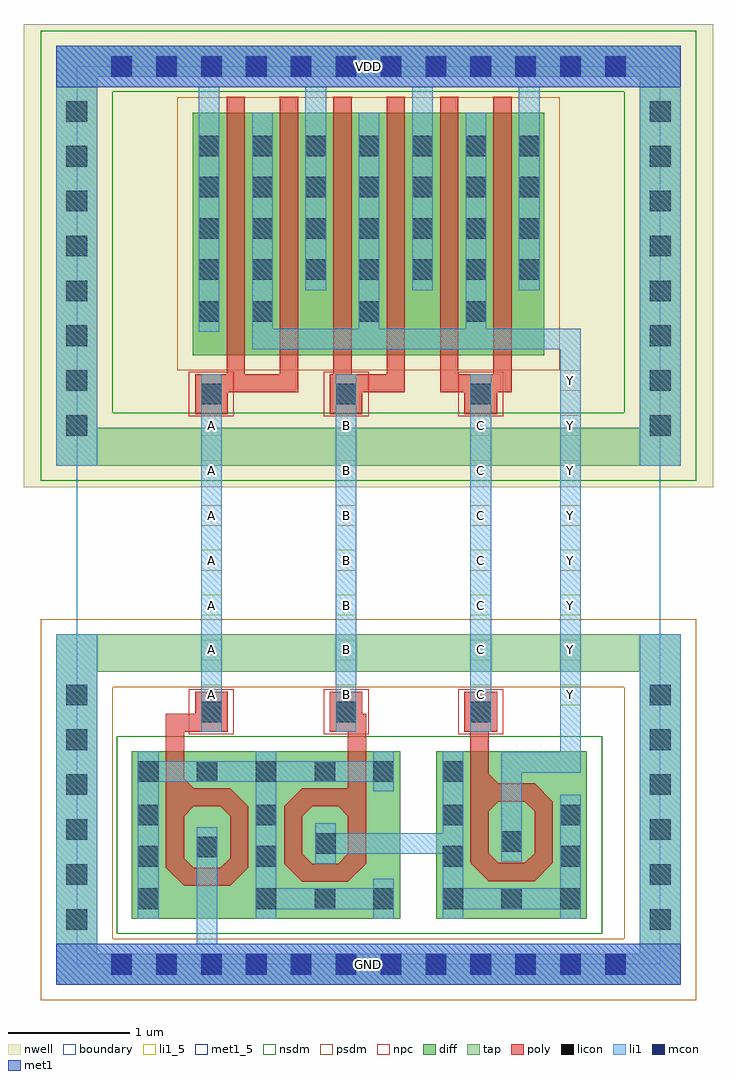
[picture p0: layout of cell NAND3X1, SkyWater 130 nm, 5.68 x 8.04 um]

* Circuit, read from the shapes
.subckt NAND3X1 A B C GND VDD Y
XM1 n1 A GND GND sky130_fd_pr__nfet_01v8 w=2.6 l=0.1471
XM2 n1 B n2 GND sky130_fd_pr__nfet_01v8 w=2.52 l=0.1477
XM3 n2 C Y GND sky130_fd_pr__nfet_01v8 w=2.56 l=0.1469
XM4 Y A VDD VDD sky130_fd_pr__pfet_01v8 w=2 l=0.15 m=2
XM5 Y B VDD VDD sky130_fd_pr__pfet_01v8 w=2 l=0.15 m=2
XM6 Y C VDD VDD sky130_fd_pr__pfet_01v8 w=2 l=0.15 m=2
.ends

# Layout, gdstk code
from math import pi, radians
import gdstk
lib = gdstk.Library(unit=1e-6, precision=1e-09)
def R(c, l, rs):  # rectangles x0, y0, x1, y1
    for r in rs: c.add(gdstk.rectangle(r[:2], r[2:], *l))
def A(c, l, x, y, w, h, nx, ny, dx, dy):  # array of equal rectangles
    R(c, l, [(x+i*dx, y+j*dy, x+i*dx+w, y+j*dy+h) for i in range(nx) for j in range(ny)])
def P(c, l, *ps):  # polygons
    for p in ps: c.add(gdstk.Polygon(p, *l))
nwell = (64, 20)
diff = (65, 20)
tap = (65, 44)
poly = (66, 20)
licon = (66, 44)
li1_5 = (67, 5)
li1 = (67, 20)
mcon = (67, 44)
met1_5 = (68, 5)
met1 = (68, 20)
nsdm = (93, 44)
psdm = (94, 20)
npc = (95, 20)
boundary = (235, 4)

poly_li1_contact = lib.new_cell('poly_li1_contact')
R(poly_li1_contact, poly, [(-0.16,-0.14,0.17,0.13)])
R(poly_li1_contact, licon, [(-0.08,-0.09,0.09,0.08)])
R(poly_li1_contact, li1, [(-0.16,-0.09,0.17,0.08)])
R(poly_li1_contact, npc, [(-0.18,-0.19,0.19,0.18)])

pmos2 = lib.new_cell('pmos2')
R(pmos2, nwell, [(0.26,-2.18,1.76,0.18)])
R(pmos2, diff, [(0.44,-2,1.58,0)])
R(pmos2, poly, [(0.72,-2.305,1.31,-2.155), (0.72,-2.155,0.87,0.13), (1.16,-2.155,1.31,0.13)])
A(pmos2, licon, 0.49, -1.38, 0.17, 0.17, 3, 4, 0.44, 0.34)
R(pmos2, li1, [(0.49,-1.465,0.66,0.21), (0.93,-1.465,1.1,0), (1.37,-1.465,1.54,0.21)])
R(pmos2, psdm, [(0.315,-2.125,1.705,0.125)])

nmos_bottom = lib.new_cell('nmos_bottom')
R(nmos_bottom, diff, [(0,0,1.24,1.38)])
R(nmos_bottom, poly, [(0.43,0.27,0.81,0.42), (0.28,0.42,0.43,0.925), (0.81,0.42,0.96,0.925), (0.43,0.925,0.96,1.075), (0.81,1.075,0.96,1.51)])
P(nmos_bottom, poly, [(0.73,1.075),(0.81,1.075),(0.81,1.155)],
  [(0.28,0.925),(0.43,0.925),(0.43,1.075)],
  [(0.43,0.845),(0.43,0.925),(0.51,0.925)],
  [(0.73,0.925),(0.81,0.925),(0.81,0.845)],
  [(0.43,0.5),(0.43,0.42),(0.51,0.42)],
  [(0.73,0.42),(0.81,0.42),(0.81,0.5)],
  [(0.28,0.42),(0.43,0.42),(0.43,0.27)],
  [(0.81,0.27),(0.81,0.42),(0.96,0.42)])
A(nmos_bottom, licon, 0.05, 1.13, 0.17, 0.17, 3, 1, 0.485, 0)
R(nmos_bottom, licon, [(0.05,0.08,0.22,0.25), (1.02,0.08,1.19,0.25), (0.05,0.43,0.22,0.6), (1.02,0.43,1.19,0.6), (0.535,0.505,0.705,0.675), (0.05,0.77,0.22,0.94), (1.02,0.77,1.19,0.94)])
R(nmos_bottom, li1, [(0.05,0,0.22,1.13), (1.02,0,1.19,1.13), (0.535,0.425,0.705,0.755), (0.05,1.13,1.19,1.3), (0.05,1.3,0.22,1.38), (1.02,1.3,1.19,1.38)])
R(nmos_bottom, nsdm, [(-0.125,-0.125,1.365,1.505)])

diff_ring_side = lib.new_cell('diff_ring_side')
R(diff_ring_side, nwell, [(-0.435,3.93,0.435,7.75)])
R(diff_ring_side, tap, [(-0.17,-0.17,0.17,2.72), (-0.17,4.11,0.17,7.57)])
A(diff_ring_side, licon, -0.085, 0.285, 0.17, 0.17, 1, 6, 0, 0.37)
A(diff_ring_side, licon, -0.085, 4.355, 0.17, 0.17, 1, 8, 0, 0.37)
R(diff_ring_side, li1, [(-0.17,-0.17,0.17,2.72), (-0.17,4.11,0.17,7.57)])
R(diff_ring_side, met1, [(-0.17,-0.17,0.17,0.17), (-0.17,7.23,0.17,7.57)])
R(diff_ring_side, nsdm, [(-0.295,3.985,0.295,7.695)])
R(diff_ring_side, psdm, [(-0.295,-0.295,0.295,2.845)])

nmos_side_left = lib.new_cell('nmos_side_left')
R(nmos_side_left, diff, [(0,0,1.24,1.38)])
R(nmos_side_left, poly, [(0.435,0.305,0.81,0.455), (0.285,0.455,0.435,0.925), (0.81,0.455,0.96,0.925), (0.435,0.925,0.96,1.075), (0.81,1.075,0.96,1.51)])
P(nmos_side_left, poly, [(0.285,0.925),(0.435,0.925),(0.435,1.075)],
  [(0.435,0.845),(0.435,0.925),(0.515,0.925)],
  [(0.73,0.925),(0.81,0.925),(0.81,0.845)],
  [(0.435,0.535),(0.435,0.455),(0.515,0.455)],
  [(0.73,0.455),(0.81,0.455),(0.81,0.535)],
  [(0.285,0.455),(0.435,0.455),(0.435,0.305)],
  [(0.81,0.305),(0.81,0.455),(0.96,0.455)])
A(nmos_side_left, licon, 0.05, 0.08, 0.17, 0.17, 3, 2, 0.485, 1.05)
R(nmos_side_left, licon, [(0.05,0.43,0.22,0.6), (0.54,0.535,0.71,0.705), (0.05,0.77,0.22,0.94)])
R(nmos_side_left, li1, [(0.05,0,0.22,0.08), (1.02,0,1.19,0.08), (0.05,0.08,1.19,0.25), (0.05,0.25,0.22,1.13), (1.02,0.25,1.19,0.33), (0.54,0.455,0.71,0.785), (1.02,1.05,1.19,1.13), (0.05,1.13,1.19,1.3), (0.05,1.3,0.22,1.38), (1.02,1.3,1.19,1.38)])
R(nmos_side_left, nsdm, [(-0.125,-0.125,1.365,1.505)])

nmos_top_trim1 = lib.new_cell('nmos_top_trim1')
R(nmos_top_trim1, diff, [(0,0,1.24,1.38)])
R(nmos_top_trim1, poly, [(0.43,0.31,0.81,0.46), (0.28,0.46,0.43,0.965), (0.81,0.46,0.96,0.965), (0.43,0.965,0.96,1.115), (0.81,1.115,0.96,1.545)])
P(nmos_top_trim1, poly, [(0.73,1.115),(0.81,1.115),(0.81,1.195)],
  [(0.28,0.965),(0.43,0.965),(0.43,1.115)],
  [(0.43,0.885),(0.43,0.965),(0.51,0.965)],
  [(0.73,0.965),(0.81,0.965),(0.81,0.885)],
  [(0.43,0.54),(0.43,0.46),(0.51,0.46)],
  [(0.73,0.46),(0.81,0.46),(0.81,0.54)],
  [(0.28,0.46),(0.43,0.46),(0.43,0.31)],
  [(0.81,0.31),(0.81,0.46),(0.96,0.46)])
A(nmos_top_trim1, licon, 0.05, 0.08, 0.17, 0.17, 3, 1, 0.485, 0)
R(nmos_top_trim1, licon, [(0.05,0.43,0.22,0.6), (1.02,0.43,1.19,0.6), (0.535,0.55,0.705,0.72), (0.05,0.77,0.22,0.94), (1.02,0.77,1.19,0.94), (1.02,1.13,1.19,1.3)])
R(nmos_top_trim1, li1, [(0.05,0,0.22,0.08), (1.02,0,1.19,0.08), (0.05,0.08,1.19,0.25), (0.05,0.25,0.22,1.02), (1.02,0.25,1.19,1.38), (0.535,0.47,0.705,0.805)])
R(nmos_top_trim1, nsdm, [(-0.125,-0.125,1.365,1.505)])

nand3x1_pcell = lib.new_cell('nand3x1_pcell')
R(nand3x1_pcell, nwell, [(0.435,3.93,4.375,5.28), (0.435,5.28,1.1,5.295), (1.395,5.28,4.375,5.495), (0.435,5.295,1.025,5.465), (1.145,5.295,1.315,5.465), (0.435,5.465,1.1,5.495), (0.435,5.495,4.375,7.75)])
A(nand3x1_pcell, diff, 1.445, 5.295, 0.17, 0.17, 3, 1, 0.88, 0)
R(nand3x1_pcell, diff, [(1.005,5.295,1.175,5.465)])
R(nand3x1_pcell, tap, [(0.17,-0.17,4.64,0.085), (0.17,2.41,4.64,2.72), (0.17,4.11,4.64,4.42), (0.17,7.315,4.64,7.57)])
R(nand3x1_pcell, poly, [(0.735,1.885,0.885,1.915), (2.235,1.885,2.385,1.915), (0.735,1.915,0.975,2.065), (2.355,1.915,2.385,2.065)])
A(nand3x1_pcell, licon, 0.285, -0.085, 0.17, 0.17, 12, 2, 0.37, 7.4)
A(nand3x1_pcell, licon, 1.445, 5.295, 0.17, 0.17, 3, 1, 0.88, 0)
R(nand3x1_pcell, licon, [(1.005,5.295,1.175,5.465)])
A(nand3x1_pcell, li1, 1.445, 5.24, 0.17, 0.315, 3, 1, 0.88, 0)
R(nand3x1_pcell, li1, [(0.17,-0.17,4.64,0.17), (0.99,0.17,1.16,0.835), (1.965,0.91,3.015,1.08), (3.5,1.175,3.67,1.58), (3.5,1.58,4.155,1.75), (3.985,1.75,4.155,5.07), (1.025,2.165,1.195,4.54), (2.135,2.165,2.305,4.54), (3.245,2.245,3.415,4.7), (1.445,5.07,4.155,5.24), (1.005,5.215,1.175,5.58), (0.17,7.23,4.64,7.57)])
A(nand3x1_pcell, mcon, 0.285, -0.085, 0.17, 0.17, 12, 2, 0.37, 7.4)
R(nand3x1_pcell, met1, [(0.17,-0.17,4.64,0.17), (0.17,7.23,4.64,7.57)])
R(nand3x1_pcell, nsdm, [(2.79,0.25,2.84,1.88), (0.045,3.985,4.765,4.545), (0.045,7.19,4.765,7.695)])
R(nand3x1_pcell, psdm, [(0.045,-0.295,4.765,0.21), (0.045,2.285,4.765,2.845), (0.88,5.17,1.74,5.59), (2.2,5.17,2.62,5.59), (3.08,5.17,3.5,5.59)])
nand3x1_pcell.add(gdstk.Reference(poly_li1_contact, (1.115,4.705), rotation=3*pi/2))
nand3x1_pcell.add(gdstk.Reference(pmos2, (0.515,7.02)))
nand3x1_pcell.add(gdstk.Reference(nmos_bottom, (1.695,0.375), rotation=pi, x_reflection=True))
nand3x1_pcell.add(gdstk.Reference(poly_li1_contact, (1.105,2.075), rotation=pi/2))
nand3x1_pcell.add(gdstk.Reference(diff_ring_side, (0,0)))
nand3x1_pcell.add(gdstk.Reference(poly_li1_contact, (2.215,4.695), rotation=pi/2))
nand3x1_pcell.add(gdstk.Reference(pmos2, (2.275,7.02)))
nand3x1_pcell.add(gdstk.Reference(pmos2, (1.395,7.02)))
nand3x1_pcell.add(gdstk.Reference(nmos_side_left, (1.425,0.375)))
nand3x1_pcell.add(gdstk.Reference(poly_li1_contact, (2.215,2.075), rotation=pi/2))
nand3x1_pcell.add(gdstk.Reference(poly_li1_contact, (3.335,4.705), rotation=3*pi/2))
nand3x1_pcell.add(gdstk.Reference(nmos_top_trim1, (4.205,0.375), rotation=pi, x_reflection=True))
nand3x1_pcell.add(gdstk.Reference(poly_li1_contact, (3.325,2.075), rotation=pi/2))
nand3x1_pcell.add(gdstk.Reference(diff_ring_side, (4.81,0)))

nand3x1 = lib.new_cell('NAND3X1')
R(nand3x1, nwell, [(0.285,7.315,0.455,7.485)])
A(nand3x1, li1_5, 1.025, 2.135, 0.17, 0.17, 3, 7, 1.11, 0.37)
A(nand3x1, li1_5, 3.985, 2.135, 0.17, 0.17, 1, 8, 0, 0.37)
A(nand3x1, li1, 1.025, 2.135, 0.17, 0.17, 3, 7, 1.11, 0.37)
A(nand3x1, li1, 3.985, 2.135, 0.17, 0.17, 1, 8, 0, 0.37)
R(nand3x1, met1_5, [(-0.17,-0.17,4.98,0.17), (-0.17,7.23,4.98,7.57)])
R(nand3x1, met1, [(-0.17,-0.17,4.98,0.17), (-0.17,7.23,4.98,7.57)])
R(nand3x1, boundary, [(0,0,4.81,7.4)])
nand3x1.add(gdstk.Reference(nand3x1_pcell, (0,0)))
nand3x1.add(gdstk.Label('Y', (4.07,2.22), layer=67, texttype=5))
nand3x1.add(gdstk.Label('Y', (4.07,2.59), layer=67, texttype=5))
nand3x1.add(gdstk.Label('Y', (4.07,2.96), layer=67, texttype=5))
nand3x1.add(gdstk.Label('Y', (4.07,3.33), layer=67, texttype=5))
nand3x1.add(gdstk.Label('Y', (4.07,3.7), layer=67, texttype=5))
nand3x1.add(gdstk.Label('Y', (4.07,4.44), layer=67, texttype=5))
nand3x1.add(gdstk.Label('Y', (4.07,4.81), layer=67, texttype=5))
nand3x1.add(gdstk.Label('Y', (4.07,4.07), layer=67, texttype=5))
nand3x1.add(gdstk.Label('A', (1.11,2.96), layer=67, texttype=5))
nand3x1.add(gdstk.Label('A', (1.11,2.59), layer=67, texttype=5))
nand3x1.add(gdstk.Label('A', (1.11,2.22), layer=67, texttype=5))
nand3x1.add(gdstk.Label('A', (1.11,3.33), layer=67, texttype=5))
nand3x1.add(gdstk.Label('A', (1.11,3.7), layer=67, texttype=5))
nand3x1.add(gdstk.Label('A', (1.11,4.07), layer=67, texttype=5))
nand3x1.add(gdstk.Label('A', (1.11,4.44), layer=67, texttype=5))
nand3x1.add(gdstk.Label('B', (2.22,3.33), layer=67, texttype=5))
nand3x1.add(gdstk.Label('B', (2.22,3.7), layer=67, texttype=5))
nand3x1.add(gdstk.Label('B', (2.22,4.07), layer=67, texttype=5))
nand3x1.add(gdstk.Label('B', (2.22,4.44), layer=67, texttype=5))
nand3x1.add(gdstk.Label('B', (2.22,2.96), layer=67, texttype=5))
nand3x1.add(gdstk.Label('B', (2.22,2.59), layer=67, texttype=5))
nand3x1.add(gdstk.Label('B', (2.22,2.22), layer=67, texttype=5))
nand3x1.add(gdstk.Label('C', (3.33,2.96), layer=67, texttype=5))
nand3x1.add(gdstk.Label('C', (3.33,2.59), layer=67, texttype=5))
nand3x1.add(gdstk.Label('C', (3.33,2.22), layer=67, texttype=5))
nand3x1.add(gdstk.Label('C', (3.33,3.33), layer=67, texttype=5))
nand3x1.add(gdstk.Label('C', (3.33,3.7), layer=67, texttype=5))
nand3x1.add(gdstk.Label('C', (3.33,4.07), layer=67, texttype=5))
nand3x1.add(gdstk.Label('C', (3.33,4.44), layer=67, texttype=5))
nand3x1.add(gdstk.Label('VDD', (2.405,7.4), layer=68, texttype=5))
nand3x1.add(gdstk.Label('GND', (2.405,0), layer=68, texttype=5))

lib.write_gds('NAND3X1.gds')
